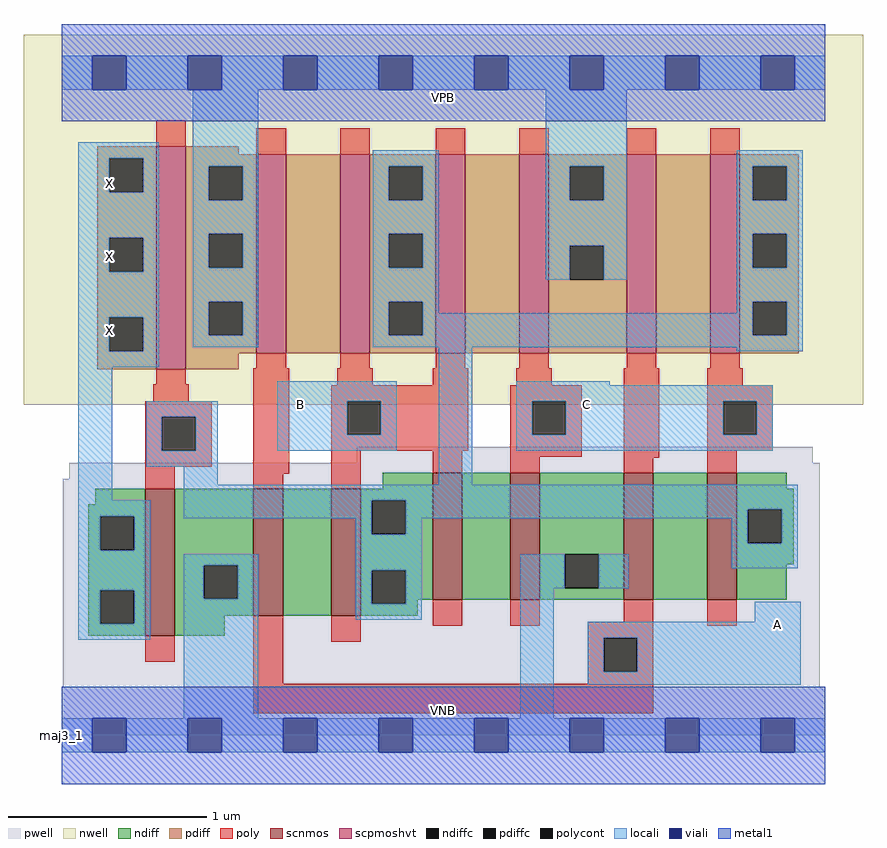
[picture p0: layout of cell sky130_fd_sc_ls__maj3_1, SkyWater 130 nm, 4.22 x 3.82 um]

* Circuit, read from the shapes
.subckt sky130_fd_sc_ls__maj3_1 A B C VGND VNB VPB VPWR X
XM1 VGND n1 X VNB sky130_fd_pr__nfet_01v8 w=0.74 l=0.15
XM2 n2 A VGND VNB sky130_fd_pr__nfet_01v8 w=0.64 l=0.15
XM3 n1 B n2 VNB sky130_fd_pr__nfet_01v8 w=0.64 l=0.15
XM4 n3 B n1 VNB sky130_fd_pr__nfet_01v8 w=0.64 l=0.15
XM5 VGND C n3 VNB sky130_fd_pr__nfet_01v8 w=0.64 l=0.15
XM6 n4 A VGND VNB sky130_fd_pr__nfet_01v8 w=0.64 l=0.15
XM7 n1 C n4 VNB sky130_fd_pr__nfet_01v8 w=0.64 l=0.15
XM8 VPWR n1 X VPB sky130_fd_pr__pfet_01v8_hvt w=1.12 l=0.15
XM9 n5 A VPWR VPB sky130_fd_pr__pfet_01v8_hvt w=1 l=0.15
XM10 n1 B n5 VPB sky130_fd_pr__pfet_01v8_hvt w=1 l=0.15
XM11 n6 B n1 VPB sky130_fd_pr__pfet_01v8_hvt w=1 l=0.15
XM12 VPWR C n6 VPB sky130_fd_pr__pfet_01v8_hvt w=1 l=0.15
XM13 n7 A VPWR VPB sky130_fd_pr__pfet_01v8_hvt w=1 l=0.15
XM14 n1 C n7 VPB sky130_fd_pr__pfet_01v8_hvt w=1 l=0.15
.ends

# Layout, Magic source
magic
tech sky130A
magscale 1 2
<< nwell >>
rect -38 332 806 704
<< pwell >>
rect 297 274 755 290
rect 8 258 762 274
rect 1 49 762 258
rect 0 0 768 49
<< scnmos >>
rect 84 100 114 248
rect 193 120 223 248
rect 271 120 301 248
rect 373 136 403 264
rect 451 136 481 264
rect 565 136 595 264
rect 649 136 679 264
<< scpmoshvt >>
rect 95 368 125 592
rect 196 384 226 584
rect 280 384 310 584
rect 376 384 406 584
rect 460 384 490 584
rect 568 384 598 584
rect 652 384 682 584
<< ndiff >>
rect 323 248 373 264
rect 34 232 84 248
rect 27 220 84 232
rect 27 186 39 220
rect 73 186 84 220
rect 27 146 84 186
rect 27 112 39 146
rect 73 112 84 146
rect 27 100 84 112
rect 114 171 193 248
rect 114 137 143 171
rect 177 137 193 171
rect 114 120 193 137
rect 223 120 271 248
rect 301 236 373 248
rect 301 202 312 236
rect 346 202 373 236
rect 301 166 373 202
rect 301 132 312 166
rect 346 136 373 166
rect 403 136 451 264
rect 481 182 565 264
rect 481 148 506 182
rect 540 148 565 182
rect 481 136 565 148
rect 595 136 649 264
rect 679 248 729 264
rect 679 227 736 248
rect 679 193 690 227
rect 724 193 736 227
rect 679 172 736 193
rect 679 136 729 172
rect 346 132 358 136
rect 301 120 358 132
rect 114 100 164 120
<< pdiff >>
rect 36 580 95 592
rect 36 546 48 580
rect 82 546 95 580
rect 36 500 95 546
rect 36 466 48 500
rect 82 466 95 500
rect 36 420 95 466
rect 36 386 48 420
rect 82 386 95 420
rect 36 368 95 386
rect 125 584 178 592
rect 125 572 196 584
rect 125 538 148 572
rect 182 538 196 572
rect 125 504 196 538
rect 125 470 148 504
rect 182 470 196 504
rect 125 436 196 470
rect 125 402 148 436
rect 182 402 196 436
rect 125 384 196 402
rect 226 384 280 584
rect 310 572 376 584
rect 310 538 329 572
rect 363 538 376 572
rect 310 504 376 538
rect 310 470 329 504
rect 363 470 376 504
rect 310 436 376 470
rect 310 402 329 436
rect 363 402 376 436
rect 310 384 376 402
rect 406 384 460 584
rect 490 572 568 584
rect 490 538 511 572
rect 545 538 568 572
rect 490 492 568 538
rect 490 458 511 492
rect 545 458 568 492
rect 490 384 568 458
rect 598 384 652 584
rect 682 572 741 584
rect 682 538 695 572
rect 729 538 741 572
rect 682 504 741 538
rect 682 470 695 504
rect 729 470 741 504
rect 682 436 741 470
rect 682 402 695 436
rect 729 402 741 436
rect 682 384 741 402
rect 125 368 178 384
<< ndiffc >>
rect 39 186 73 220
rect 39 112 73 146
rect 143 137 177 171
rect 312 202 346 236
rect 312 132 346 166
rect 506 148 540 182
rect 690 193 724 227
<< pdiffc >>
rect 48 546 82 580
rect 48 466 82 500
rect 48 386 82 420
rect 148 538 182 572
rect 148 470 182 504
rect 148 402 182 436
rect 329 538 363 572
rect 329 470 363 504
rect 329 402 363 436
rect 511 538 545 572
rect 511 458 545 492
rect 695 538 729 572
rect 695 470 729 504
rect 695 402 729 436
<< poly >>
rect 95 592 125 618
rect 196 584 226 610
rect 280 584 310 610
rect 376 584 406 610
rect 460 584 490 610
rect 568 584 598 610
rect 652 584 682 610
rect 196 369 226 384
rect 280 369 310 384
rect 376 369 406 384
rect 460 369 490 384
rect 568 369 598 384
rect 652 369 682 384
rect 95 353 125 368
rect 92 336 128 353
rect 84 320 151 336
rect 84 286 101 320
rect 135 286 151 320
rect 84 270 151 286
rect 84 248 114 270
rect 193 263 229 369
rect 277 352 313 369
rect 373 352 409 369
rect 457 352 493 369
rect 271 336 409 352
rect 271 302 287 336
rect 321 302 409 336
rect 271 286 409 302
rect 451 336 523 352
rect 451 302 473 336
rect 507 302 523 336
rect 193 248 223 263
rect 271 248 301 286
rect 373 264 403 286
rect 451 280 523 302
rect 451 264 481 280
rect 565 279 601 369
rect 649 352 685 369
rect 649 336 715 352
rect 649 302 665 336
rect 699 302 715 336
rect 649 286 715 302
rect 565 264 595 279
rect 649 264 679 286
rect 84 74 114 100
rect 193 52 223 120
rect 271 94 301 120
rect 373 110 403 136
rect 451 110 481 136
rect 565 114 595 136
rect 529 98 595 114
rect 649 110 679 136
rect 529 64 545 98
rect 579 64 595 98
rect 529 52 595 64
rect 193 22 595 52
<< polycont >>
rect 101 286 135 320
rect 287 302 321 336
rect 473 302 507 336
rect 665 302 699 336
rect 545 64 579 98
<< locali >>
rect 0 649 31 683
rect 65 649 127 683
rect 161 649 223 683
rect 257 649 319 683
rect 353 649 415 683
rect 449 649 511 683
rect 545 649 607 683
rect 641 649 703 683
rect 737 649 768 683
rect 17 580 98 596
rect 17 546 48 580
rect 82 546 98 580
rect 17 500 98 546
rect 17 466 48 500
rect 82 466 98 500
rect 17 420 98 466
rect 17 386 48 420
rect 82 386 98 420
rect 132 572 198 649
rect 132 538 148 572
rect 182 538 198 572
rect 132 504 198 538
rect 132 470 148 504
rect 182 470 198 504
rect 132 436 198 470
rect 132 402 148 436
rect 182 402 198 436
rect 132 390 198 402
rect 313 572 379 588
rect 313 538 329 572
rect 363 538 379 572
rect 313 504 379 538
rect 313 470 329 504
rect 363 470 379 504
rect 313 436 379 470
rect 487 572 568 649
rect 487 538 511 572
rect 545 538 568 572
rect 487 492 568 538
rect 487 458 511 492
rect 545 458 568 492
rect 679 572 745 588
rect 679 538 695 572
rect 729 538 745 572
rect 679 504 745 538
rect 679 470 695 504
rect 729 470 745 504
rect 313 402 329 436
rect 363 424 379 436
rect 679 436 745 470
rect 679 424 695 436
rect 363 402 695 424
rect 729 402 745 436
rect 313 390 745 402
rect 17 370 98 386
rect 17 236 51 370
rect 217 336 337 356
rect 85 320 157 336
rect 85 286 101 320
rect 135 286 157 320
rect 217 302 287 336
rect 321 302 337 336
rect 217 286 337 302
rect 85 270 157 286
rect 123 252 157 270
rect 379 252 413 390
rect 679 386 745 390
rect 457 352 551 356
rect 457 336 715 352
rect 457 302 473 336
rect 507 302 665 336
rect 699 302 715 336
rect 457 286 715 302
rect 123 236 740 252
rect 17 220 89 236
rect 17 186 39 220
rect 73 186 89 220
rect 123 218 312 236
rect 17 146 89 186
rect 296 202 312 218
rect 346 227 740 236
rect 346 218 690 227
rect 346 202 362 218
rect 17 112 39 146
rect 73 112 89 146
rect 17 96 89 112
rect 123 171 198 182
rect 123 137 143 171
rect 177 137 198 171
rect 123 17 198 137
rect 296 166 362 202
rect 674 193 690 218
rect 724 193 740 227
rect 296 132 312 166
rect 346 132 362 166
rect 296 116 362 132
rect 461 148 506 182
rect 540 148 570 182
rect 674 168 740 193
rect 461 17 495 148
rect 697 114 743 134
rect 529 98 743 114
rect 529 64 545 98
rect 579 64 743 98
rect 529 51 743 64
rect 0 -17 31 17
rect 65 -17 127 17
rect 161 -17 223 17
rect 257 -17 319 17
rect 353 -17 415 17
rect 449 -17 511 17
rect 545 -17 607 17
rect 641 -17 703 17
rect 737 -17 768 17
<< viali >>
rect 31 649 65 683
rect 127 649 161 683
rect 223 649 257 683
rect 319 649 353 683
rect 415 649 449 683
rect 511 649 545 683
rect 607 649 641 683
rect 703 649 737 683
rect 31 -17 65 17
rect 127 -17 161 17
rect 223 -17 257 17
rect 319 -17 353 17
rect 415 -17 449 17
rect 511 -17 545 17
rect 607 -17 641 17
rect 703 -17 737 17
<< metal1 >>
rect 0 683 768 715
rect 0 649 31 683
rect 65 649 127 683
rect 161 649 223 683
rect 257 649 319 683
rect 353 649 415 683
rect 449 649 511 683
rect 545 649 607 683
rect 641 649 703 683
rect 737 649 768 683
rect 0 617 768 649
rect 0 17 768 49
rect 0 -17 31 17
rect 65 -17 127 17
rect 161 -17 223 17
rect 257 -17 319 17
rect 353 -17 415 17
rect 449 -17 511 17
rect 545 -17 607 17
rect 641 -17 703 17
rect 737 -17 768 17
rect 0 -49 768 -17
<< labels >>
rlabel comment s 0 0 0 0 4 maj3_1
flabel pwell s 0 0 768 49 0 FreeSans 200 0 0 0 VNB
port 5 nsew ground bidirectional
flabel nwell s 0 617 768 666 0 FreeSans 200 0 0 0 VPB
port 6 nsew power bidirectional
flabel metal1 s 0 617 768 666 0 FreeSans 340 0 0 0 VPWR
port 7 nsew power bidirectional abutment
flabel metal1 s 0 0 768 49 0 FreeSans 340 0 0 0 VGND
port 4 nsew ground bidirectional abutment
flabel locali s 703 94 737 128 0 FreeSans 340 0 0 0 A
port 1 nsew signal input
flabel locali s 223 316 257 350 0 FreeSans 340 0 0 0 B
port 2 nsew signal input
flabel locali s 31 390 65 424 0 FreeSans 340 0 0 0 X
port 8 nsew signal output
flabel locali s 31 464 65 498 0 FreeSans 340 0 0 0 X
port 8 nsew signal output
flabel locali s 31 538 65 572 0 FreeSans 340 0 0 0 X
port 8 nsew signal output
flabel locali s 511 316 545 350 0 FreeSans 340 0 0 0 C
port 3 nsew signal input
<< properties >>
string LEFsite unit
string LEFclass CORE
string FIXED_BBOX 0 0 768 666
string GDS_FILE $PDKPATH/libs.ref/sky130_fd_sc_ls/gds/sky130_fd_sc_ls.gds
string LEFsymmetry X Y
string GDS_END 3853210
string GDS_START 3846362
<< end >>
